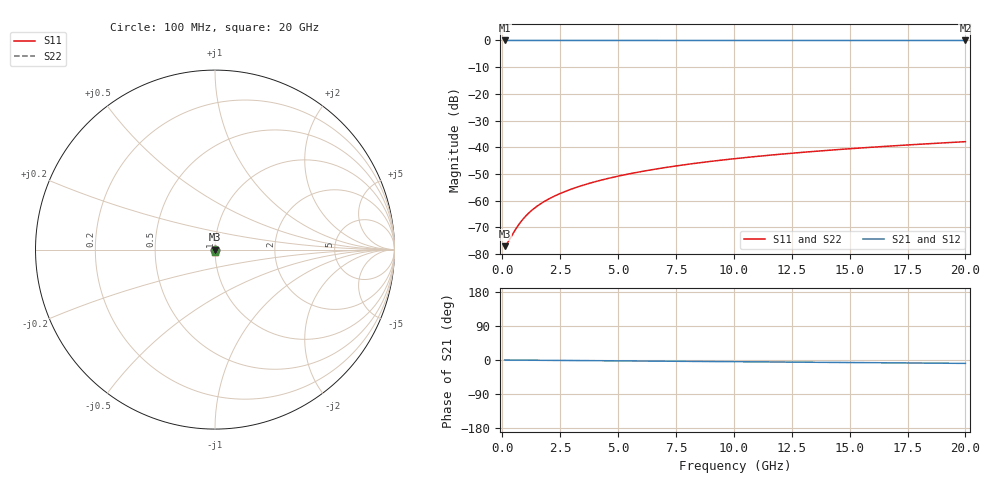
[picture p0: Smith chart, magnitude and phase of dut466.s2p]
! Touchstone file exported from HFSS 2026.1.0
!  File:  C:/ffzhzh/LocalFiles/Ansys_Project_Files/temp_train_TSV_466_1783022156_53980.aedt
!  Generated:  03:58:08 AM Jul  3, 2026
!  Design:  TSV
!  Project:  temp_train_TSV_466_1783022156_53980
! Variables:
!  h_bsmrdl = 2um
!  h_ox = 20um
!  h_rdl = 5um
!  h_sub = 92.18um
!  h_tmrdl = 5um
!  h_tsv = 92.18um
!  h_via = 3um
!  l_bsmrdl = 300um
!  l_sub = 420.52um
!  l_tmrdl = 200um
!  m_sub = 200um
!  pitch = 38.26um
!  r_tsv = 10.26um
!  s_tmrdl = 10um
!  w_bsmrdl = 18um
!  w_sub = 500um
!  w_tmrdl = 12um
!  x_tsv_center1 = 206um
!  x_tsv_center2 = 524um
!  x_tsv_center3 = 736um
!  x_tsv_center4 = 1054um
!  x_tsv_center5 = 1266um
!  x_tsv_center6 = 1584um
# GHz S MA R 50.000000
! Terminal data exported
! Port[1] = TSV1_1_T1
! Port[2] = TSV1_1_T2
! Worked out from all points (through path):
!   200 points, 100 MHz to 20 GHz, reference 50 ohm
!   highest |S21| = 0.00 dB at 100 MHz (marker M1); lowest = 0.0 dB at 20 GHz (marker M2)
!   group delay of S21, straight-line fit = 1.23 ps
!   lowest |S11| = -77.1 dB at 100 MHz (marker M3), VSWR 1.00, Z = 50 - j0.00128 ohm
!   |S11| at or under -10 dB: start of sweep to end of sweep
!   |S22| runs from -77.1 to -37.9 dB; largest |S21 - S12| = 2.4e-15
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0.1  0.0001403 -5.2  0.9999 -0.0  0.9999 -0.0  0.0001403 -5.2
! Gamma 0 0 0 0
! Port Impedance 50 0 50 0
0.2  0.0001568 -10.6  0.9998 -0.1  0.9998 -0.1  0.0001568 -10.6
0.3  0.0001828 -16.2  0.9998 -0.1  0.9998 -0.1  0.0001828 -16.2
0.6  0.000302 -31.9  0.9997 -0.3  0.9997 -0.3  0.000302 -31.9
0.8  0.0004012 -40.1  0.9997 -0.4  0.9997 -0.4  0.0004012 -40.1
0.9  0.0004538 -43.6  0.9997 -0.4  0.9997 -0.4  0.0004538 -43.6
1.1  0.0005623 -49.4  0.9996 -0.5  0.9996 -0.5  0.0005623 -49.4
1.4  0.0007297 -56.0  0.9996 -0.6  0.9996 -0.6  0.0007297 -56.0
1.8  0.0009569 -61.9  0.9995 -0.8  0.9995 -0.8  0.0009569 -61.9
2.3  0.001245 -66.8  0.9995 -1.0  0.9995 -1.0  0.001245 -66.8
2.9  0.001596 -70.7  0.9994 -1.3  0.9994 -1.3  0.001596 -70.7
3.5  0.001953 -73.3  0.9994 -1.6  0.9994 -1.6  0.001953 -73.3
4.2  0.002378 -75.5  0.9993 -1.9  0.9993 -1.9  0.002378 -75.5
5  0.002873 -77.4  0.9993 -2.2  0.9993 -2.2  0.002873 -77.4
5.9  0.003439 -79.2  0.9992 -2.6  0.9992 -2.6  0.003439 -79.2
6.8  0.004012 -80.6  0.9991 -3.0  0.9991 -3.0  0.004012 -80.6
8.3  0.004979 -82.6  0.999 -3.7  0.999 -3.7  0.004979 -82.7
10.1  0.006151 -84.7  0.9989 -4.5  0.9989 -4.5  0.006151 -84.7
11.7  0.007198 -86.2  0.9988 -5.2  0.9988 -5.2  0.007198 -86.2
13.4  0.008316 -87.6  0.9988 -6.0  0.9988 -6.0  0.008316 -87.6
16.7  0.0105 -90.1  0.9986 -7.4  0.9986 -7.4  0.0105 -90.1
20  0.01271 -92.2  0.9984 -8.9  0.9984 -8.9  0.01271 -92.2
